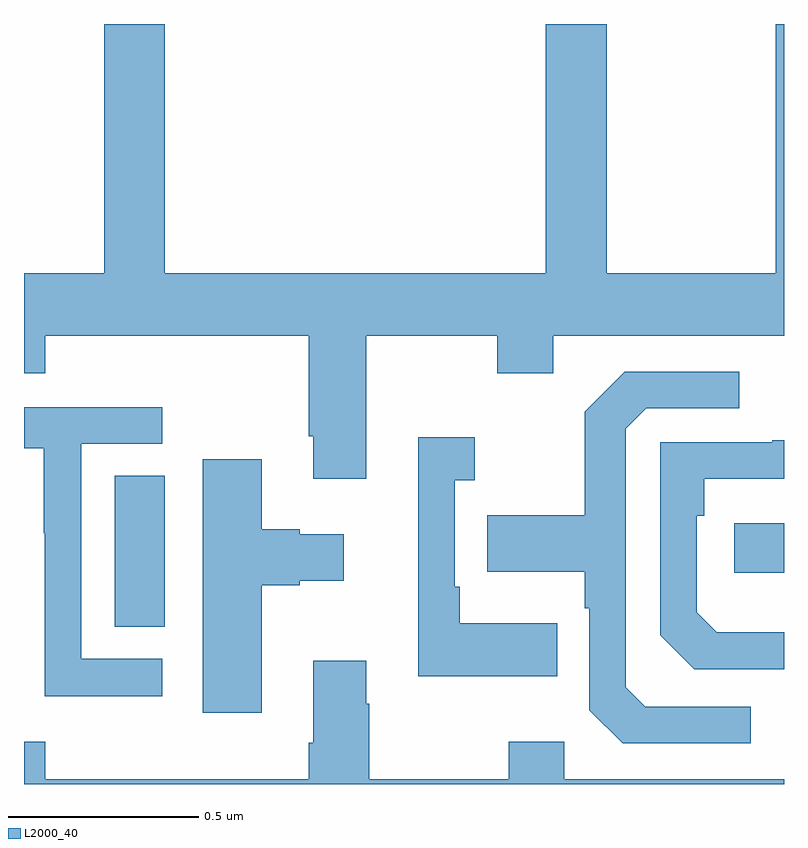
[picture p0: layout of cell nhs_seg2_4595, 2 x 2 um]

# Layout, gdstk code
import gdstk
lib = gdstk.Library(unit=1e-6, precision=1e-09)
def R(c, l, rs):  # rectangles x0, y0, x1, y1
    for r in rs: c.add(gdstk.rectangle(r[:2], r[2:], *l))
def P(c, l, *ps):  # polygons
    for p in ps: c.add(gdstk.Polygon(p, *l))
L2000_40 = (2000, 40)

nhs_seg2_4595 = lib.new_cell('nhs_seg2_4595')
R(nhs_seg2_4595, L2000_40, [(168.239,636.214,168.37,636.611), (169.869,636.356,170,636.486)])
P(nhs_seg2_4595, L2000_40, [(168.901,636.98),(169.246,636.98),(169.246,636.881),(169.393,636.881),(169.393,636.98),(170,636.98),(170,637.8),(169.978,637.8),(169.978,637.144),(169.533,637.144),(169.533,637.8),(169.373,637.8),(169.373,637.144),(168.371,637.144),(168.371,637.8),(168.211,637.8),(168.211,637.144),(168,637.144),(168,636.881),(168.056,636.881),(168.056,636.98),(168.749,636.98),(168.749,636.715),(168.761,636.715),(168.761,636.603),(168.901,636.603)],
  [(169.912,636.003),(169.635,636.003),(169.584,636.054),(169.584,636.735),(169.638,636.789),(169.882,636.789),(169.882,636.885),(169.581,636.885),(169.476,636.779),(169.476,636.507),(169.219,636.507),(169.219,636.359),(169.476,636.359),(169.476,636.263),(169.488,636.263),(169.488,635.994),(169.575,635.907),(169.912,635.907)],
  [(168.364,636.129),(168.15,636.129),(168.15,636.696),(168.364,636.696),(168.364,636.792),(168,636.792),(168,636.684),(168.052,636.684),(168.052,636.46),(168.054,636.46),(168.054,636.031),(168.364,636.031)],
  [(169.403,636.223),(169.147,636.223),(169.147,636.319),(169.134,636.319),(169.134,636.599),(169.186,636.599),(169.186,636.712),(169.037,636.712),(169.037,636.083),(169.403,636.083)],
  [(170,636.199),(169.823,636.199),(169.77,636.252),(169.77,636.506),(169.79,636.506),(169.79,636.603),(170,636.603),(170,636.704),(169.969,636.704),(169.969,636.699),(169.674,636.699),(169.674,636.192),(169.764,636.102),(170,636.102)],
  [(168.625,636.323),(168.725,636.323),(168.725,636.335),(168.841,636.335),(168.841,636.457),(168.725,636.457),(168.725,636.47),(168.625,636.47),(168.625,636.655),(168.47,636.655),(168.47,635.988),(168.625,635.988)],
  [(170,635.812),(169.422,635.812),(169.422,635.911),(169.276,635.911),(169.276,635.812),(168.909,635.812),(168.909,636.011),(168.901,636.011),(168.901,636.124),(168.761,636.124),(168.761,635.908),(168.749,635.908),(168.749,635.812),(168.056,635.812),(168.056,635.911),(168,635.911),(168,635.8),(170,635.8)])

lib.write_gds('nhs_seg2_4595.gds')
